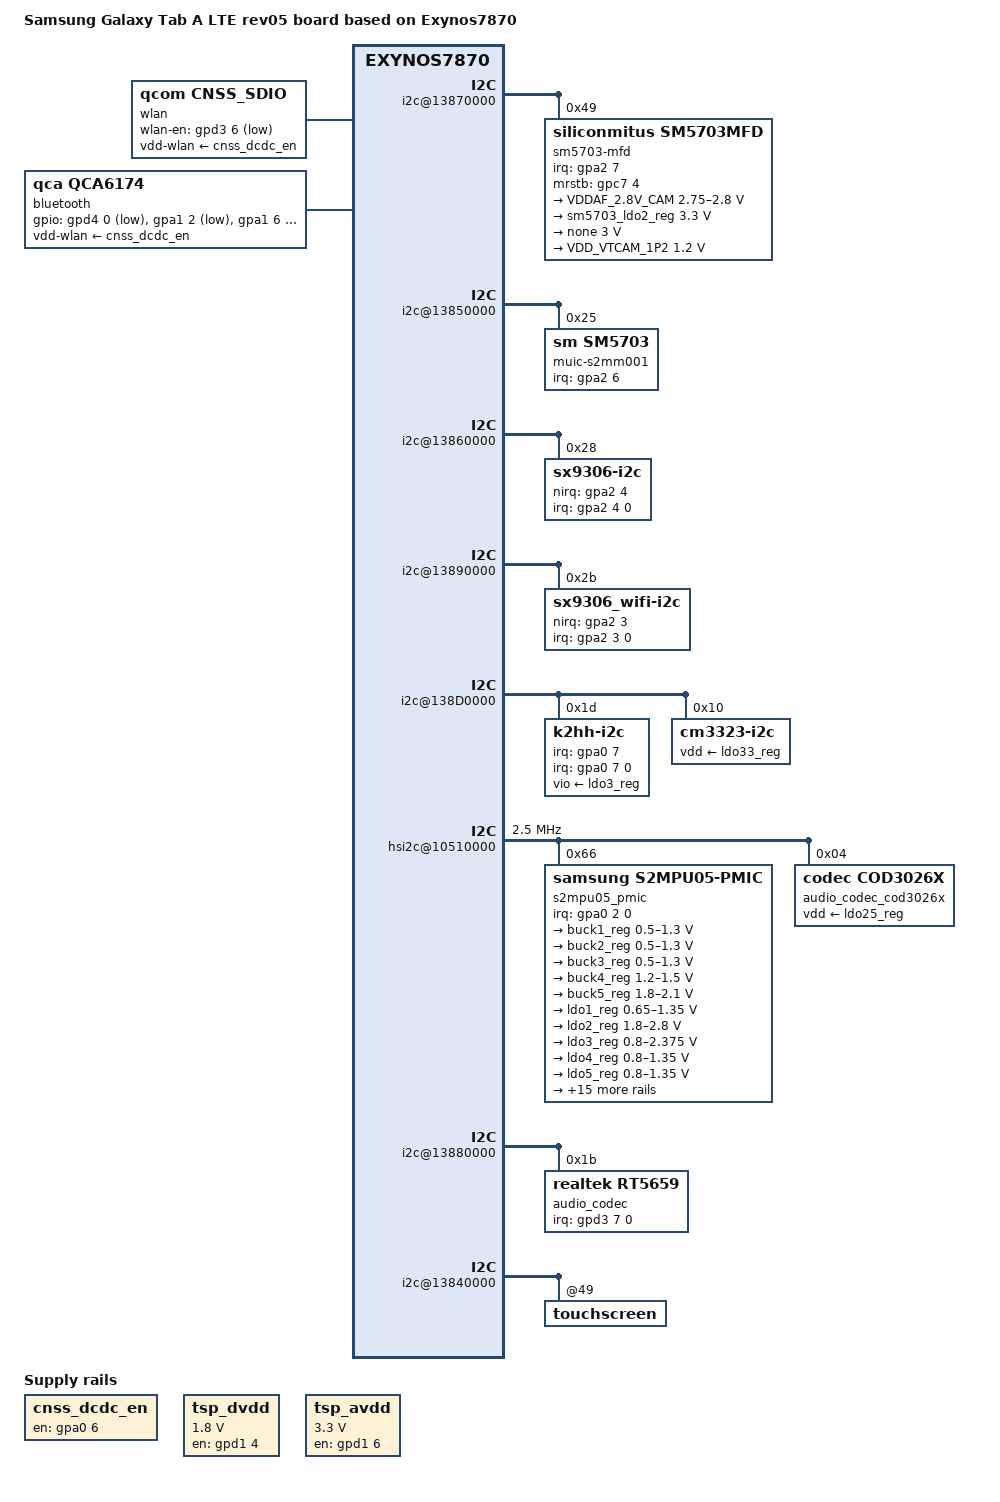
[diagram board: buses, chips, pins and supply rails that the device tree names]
/*
 * SAMSUNG UNIVERSAL8890 board device tree source
 *
 * Copyright (c) 2013 Samsung Electronics Co., Ltd.
 *		http://www.samsung.com
 *
 * This program is free software; you can redistribute it and/or modify
 * it under the terms of the GNU General Public License version 2 as
 * published by the Free Software Foundation.
*/

/dts-v1/;
#include "exynos7870-gtaxl_common.dtsi"
#include "modem-ss315ap-pdata.dtsi"
#include "exynos7870-gtaxllte_eur_open_gpio_05.dtsi"
#include "exynos7870-gtaxllte_eur_open_battery_05.dtsi"

/ {
	model = "Samsung Galaxy Tab A LTE rev05 board based on Exynos7870";
        model_info-chip = <7870>;
        model_info-platform = "android";
        model_info-subtype = "samsung";
        model_info-hw_rev = <5>;
        model_info-hw_rev_end = <255>;
	compatible = "samsung, Galaxy Tab A LTE 05", "samsung,exynos7870";

	cnss_dcdc_en: cnss_dcdc_en {
		compatible = "regulator-fixed";
		regulator-name = "cnss_dcdc_en";
		startup-delay-us = <4000>;
		enable-active-high;
		gpio = <&gpa0 6 0>;
	};

	serial_2: uart@13820000 {
		samsung,alive-io;
	};

	i2c@13870000 {
		status = "okay";
		sm5703-mfd@49 {
			compatible = "siliconmitus,sm5703mfd";
			reg = <0x49>;
			pinctrl-names = "default";
			pinctrl-0 = <&chg_en &if_pmic_irq>;
			sm5703,irq-gpio = <&gpa2 7 0>;
			sm5703,mrstb-gpio = <&gpc7 4 0>;

			sm5703_ldo1 {
				compatible = "siliconmitus,sm5703-ldo1";
				regulator-name = "VDDAF_2.8V_CAM"; /* change name by yourself */
				regulator-min-microvolt = <2750000>;
				regulator-max-microvolt = <2800000>; /* max == min then apply_uV = 1 */
				/* regulator-microvolt-offset = < >; optional*/
				/* regulator-boot-on;*/ /* = "yes"; optional, exist = enabled */
				/* regulator-always-on;*/ /* = "yes"; optional, exist = enabled */
				/* regulator-ramp-delay = <100>; optional*/
			};

			sm5703_ldo2_reg: sm5703_ldo2 {
				compatible = "siliconmitus,sm5703-ldo2";
				regulator-name = "VDD_MOTOR_3.3"; /* change name by yourself */
				regulator-min-microvolt = <3300000>;
				regulator-max-microvolt = <3300000>; /* max == min then apply_uV = 1 */
				/* regulator-microvolt-offset = < >; optional*/
				/* regulator-boot-on;   = "yes"; optional, exist = enabled */
				/* regulator-always-on;	"yes"; optional, exist = enabled */
				/* regulator-ramp-delay = <100>; optional*/
			};

			sm5703_ldo3 {
				compatible = "siliconmitus,sm5703-ldo3";
				regulator-name = "none"; /* change name by yourself */
				regulator-min-microvolt = <3000000>;
				regulator-max-microvolt = <3000000>; /* max == min then apply_uV = 1 */
				/* regulator-microvolt-offset = < >; optional*/
				/* regulator-boot-on = "yes"; optional, exist = enabled */
				/* regulator-always-on = "yes"; optional, exist = enabled */
				/* regulator-ramp-delay = <100>; optional*/
			};

			sm5703_buck {
				compatible = "siliconmitus,sm5703-buck";
				regulator-name = "VDD_VTCAM_1P2"; /* change name by yourself */
				regulator-min-microvolt = <1200000>;
				regulator-max-microvolt = <1200000>; /* max == min then apply_uV = 1 */
				/* regulator-microvolt-offset = < >; optional*/
				/* regulator-boot-on = "yes"; optional, exist = enabled */
				/* regulator-always-on = "yes"; optional, exist = enabled */
				/* regulator-ramp-delay = <100>; optional*/
			};

			sm5703_fled {
				compatible = "siliconmitus,sm5703-fled";
				enable = <1 1>;
				flash_current = <1200>;
				movie_current = <150>;
				torch_current = <150>;
				sm5703,led1-gpio = <&gpd3 5 0>;
				sm5703,led2-gpio = <&gpd3 7 0>;
			};
		};
	};

	i2c@13850000 {
		status = "okay";

		muic-s2mm001@25 {
			compatible = "sm,sm5703";
			reg = <0x25>;
			pinctrl-names = "default";
			pinctrl-0 = <&muic_irq>;
			sm5703,irq-gpio = <&gpa2 6 0>;
		};
	};

	pinctrl@139F0000 {
		acc_int: acc_int {
			samsung,pins = "gpa0-7";
			samsung,pin-function = <0xF>;
			samsung,pin-pud = <0>;
			samsung,pin-drv = <0>;
		};

		gripwifi_int: gripwifi_int {
			samsung,pins = "gpa2-3";
			samsung,pin-function = <0xF>;
			samsung,pin-pud = <0>;
			samsung,pin-drv = <0>;
		};

		grip_int: grip_int {
			samsung,pins = "gpa2-4";
			samsung,pin-function = <0xF>;
			samsung,pin-pud = <0>;
			samsung,pin-drv = <0>;
		};

		muic_irq: muic_irq {
			samsung,pins = "gpa2-6";
			samsung,pin-function = <0x0>;
			samsung,pin-pud = <3>;
		};
	};

	i2c@13860000 {
		samsung,i2c-sda-delay = <100>;
		samsung,i2c-max-bus-freq = <400000>;
		status = "okay";
		
		sx9306-i2c@28 {
			compatible = "sx9306-i2c";
			reg = <0x28>;
			pinctrl-names = "default";
			pinctrl-0 = <&grip_int>;
			interrupt-parent = <&gpa2>;
			interrupts = <4 0 0>;
			sx9306-i2c,nirq-gpio = <&gpa2 4 0>;
			sx9306-i2c,ctrl0 = <0x24>;
			sx9306-i2c,ctrl2 = <0x57>;
			sx9306-i2c,ctrl3 = <0x02>;
			sx9306-i2c,ctrl5 = <0x17>;
			sx9306-i2c,normal-thd = <8>; /* normal touch threshold */
			sx9306-i2c,ch-main = <2>; /* channel number */
			sx9306-i2c,ch-sub1 = <0xff>;  /*oxff: Not be used sub channel */
		};
	};
	
	i2c@13890000 {
		samsung,i2c-sda-delay = <100>;
		samsung,i2c-max-bus-freq = <400000>;
		status = "okay";
		
		sx9306_wifi-i2c@2B {
			compatible = "sx9306_wifi-i2c";
			reg = <0x2B>;
			pinctrl-names = "default";
			pinctrl-0 = <&gripwifi_int>;
			interrupt-parent = <&gpa2>;
			interrupts = <3 0 0>;
			sx9306_wifi-i2c,nirq-gpio = <&gpa2 3 0>;
			sx9306_wifi-i2c,ctrl0 = <0x24>;
			sx9306_wifi-i2c,ctrl2 = <0x57>;
			sx9306_wifi-i2c,ctrl3 = <0x02>;
			sx9306_wifi-i2c,ctrl5 = <0x17>;
			sx9306_wifi-i2c,normal-thd = <8>; /* normal touch threshold */
			sx9306_wifi-i2c,ch-main = <2>; /* channel number */
			sx9306_wifi-i2c,ch-sub1 = <0xff>;  /*oxff: Not be used sub channel */
		};
	};
	
	i2c@138D0000 {
		samsung,i2c-sda-delay = <100>;
		samsung,i2c-max-bus-freq = <400000>;
		status = "okay";

		k2hh-i2c@1D {
			compatible = "k2hh-i2c";
			reg = <0x1D>;
			pinctrl-names = "default";
			pinctrl-0 = <&acc_int>;
			interrupt-parent = <&gpa0>;
			interrupts = <7 0 0>;
			k2hh,irq_gpio = <&gpa0 7 0>;
			k2hh,vio-supply = <&ldo3_reg>;
			k2hh,axis_map_x = <0>;
			k2hh,axis_map_y = <1>;
			k2hh,axis_map_z = <2>;
			k2hh,negate_x = <0>;
			k2hh,negate_y = <0>;
			k2hh,negate_z = <1>;
			k2hh,poll_interval = <100>;
			k2hh,min_interval = <2>;
		};

		cm3323-i2c@10 {
			compatible = "cm3323-i2c";
			reg = <0x10>;
			cm3323-i2c,vdd-supply = <&ldo33_reg>;
			cm3323-i2c,vdd-alwayson = <1>;
			/*cm3323-i2c,vdd-ldo= ;  //use if vdd is connected with ldo or gpio*/
		};
	};

	hsi2c@10510000 {
		status = "okay";
		samsung,hs-mode;
		clock-frequency = <2500000>;
		samsung,hsi2c-batcher;
		#address-cells = <1>;
		#size-cells = <0>;

		s2mpu05_pmic@66 {
			compatible = "samsung,s2mpu05-pmic";
			reg = <0x66>;
			ten-bit-address;
			interrupts = <2 0 0>;
			interrupt-parent = <&gpa0>;
			pinctrl-names = "default";
			pinctrl-0 = <&pmic_irq &pm_wrsti>;
			g3d_en = <1>; /* 1 : enable , 0 : disable */
			buck2en_pin = "etc1-3";
			buck2en_addr = "139B0080.pinctrl";
			/* RTC: wtsr/smpl */
			wtsr_en = <1>; /* enable */
			smpl_en = <1>; /* enable */
			wtsr_timer_val = <3>;   /* 1000ms */
			smpl_timer_val = <0>;   /* 100ms */
			check_jigon = <0>; /* do not check jigon */
			/* RTC: If it's first boot, reset rtc to 1/1/2016 12:00:00(Fri) */
			init_time,sec = <0>;
			init_time,min = <0>;
			init_time,hour = <12>;
			init_time,mday = <1>;
			init_time,mon = <0>;
			init_time,year = <116>;
			init_time,wday = <5>;

			regulators {
				buck1_reg: BUCK1 {
					regulator-name = "BUCK1";
					regulator-min-microvolt = <500000>;
					regulator-max-microvolt = <1300000>;
					regulator-always-on;
					regulator-boot-on;
					regulator-ramp-delay = <12000>;
					regulator-initial-mode = <1>;
					regulator-expected-consumer = <2>;
				};

				buck2_reg: BUCK2 {
					regulator-name = "BUCK2";
					regulator-min-microvolt = <500000>;
					regulator-max-microvolt = <1300000>;
					regulator-always-on;
					regulator-boot-on;
					regulator-ramp-delay = <12000>;
					regulator-initial-mode = <2>;		/* MIF mode */
					regulator-expected-consumer = <4>;
				};

				buck3_reg: BUCK3 {
					regulator-name = "BUCK3";
					regulator-min-microvolt = <500000>;
					regulator-max-microvolt = <1300000>;
					regulator-always-on;
					regulator-boot-on;
					regulator-ramp-delay = <12000>;
					regulator-initial-mode = <2>;
				};

				buck4_reg: BUCK4 {
					regulator-name = "BUCK4";
					regulator-min-microvolt = <1200000>;
					regulator-max-microvolt = <1500000>;
					regulator-always-on;
					regulator-boot-on;
					regulator-ramp-delay = <12000>;
					regulator-initial-mode = <2>;
				};

				buck5_reg: BUCK5 {
					regulator-name = "BUCK5";
					regulator-min-microvolt = <1800000>;
					regulator-max-microvolt = <2100000>;
					regulator-always-on;
					regulator-boot-on;
					regulator-ramp-delay = <12000>;
					regulator-initial-mode = <2>;
				};

				ldo1_reg: LDO1 {
					regulator-name = "vdd_ldo1";
					regulator-min-microvolt = <650000>;
					regulator-max-microvolt = <1350000>;
					regulator-always-on;
					regulator-boot-on;
					regulator-ramp-delay = <12000>;
					regulator-initial-mode = <3>;
				};

				ldo2_reg: LDO2 {
					regulator-name = "vqmmc";
					regulator-min-microvolt = <1800000>;
					regulator-max-microvolt = <2800000>;
					regulator-ramp-delay = <12000>;
					regulator-initial-mode = <0>;
				};

				ldo3_reg: LDO3 {
					regulator-name = "vdd_ldo3";
					regulator-min-microvolt = <800000>;
					regulator-max-microvolt = <2375000>;
					regulator-boot-on;
					regulator-always-on;
					regulator-ramp-delay = <12000>;
					regulator-initial-mode = <3>;
				};

				ldo4_reg: LDO4 {
					regulator-name = "vdd_ldo4";
					regulator-min-microvolt = <800000>;
					regulator-max-microvolt = <1350000>;
					regulator-boot-on;
					regulator-always-on;
					regulator-ramp-delay = <12000>;
					regulator-initial-mode = <1>;
				};

				ldo5_reg: LDO5 {
					regulator-name = "vdd_ldo5";
					regulator-min-microvolt = <800000>;
					regulator-max-microvolt = <1350000>;
					regulator-boot-on;
					regulator-always-on;
					regulator-ramp-delay = <12000>;
					regulator-initial-mode = <3>;
				};

				ldo6_reg: LDO6 {
					regulator-name = "vdd_ldo6";
					regulator-min-microvolt = <800000>;
					regulator-max-microvolt = <1350000>;
					regulator-boot-on;
					regulator-always-on;
					regulator-ramp-delay = <12000>;
					regulator-initial-mode = <1>;
				};

				ldo7_reg: LDO7 {
					regulator-name = "vdd_ldo7";
					regulator-min-microvolt = <800000>;
					regulator-max-microvolt = <2375000>;
					regulator-boot-on;
					regulator-always-on;
					regulator-ramp-delay = <12000>;
					regulator-initial-mode = <1>;
				};

				ldo8_reg: LDO8 {
					regulator-name = "vdd_ldo8";
					regulator-min-microvolt = <1800000>;
					regulator-max-microvolt = <3375000>;
					regulator-boot-on;
					regulator-always-on;
					regulator-ramp-delay = <12000>;
					regulator-initial-mode = <1>;
				};

				ldo9_reg: LDO9 {
					regulator-name = "vdd_ldo9";
					regulator-min-microvolt = <650000>;
					regulator-max-microvolt = <1350000>;
					regulator-always-on;
					regulator-ramp-delay = <12000>;
					regulator-initial-mode = <1>;
				};

				ldo10_reg: LDO10 {
					regulator-name = "vdd_ldo10";
					regulator-min-microvolt = <650000>;
					regulator-max-microvolt = <1350000>;
					regulator-always-on;
					regulator-ramp-delay = <12000>;
					regulator-initial-mode = <1>;
				};

				ldo25_reg: LDO25 {
					regulator-name = "VDD_CODEC_1P8";
					regulator-min-microvolt = <1800000>;
					regulator-max-microvolt = <1800000>;
					regulator-always-on;
					regulator-initial-mode = <3>;
				};

				ldo26_reg: LDO26 {
					regulator-name = "vemmc";
					regulator-min-microvolt = <1800000>;
					regulator-max-microvolt = <3375000>;
					regulator-boot-on;
					regulator-ramp-delay = <12000>;
					regulator-initial-mode = <3>;
				};

				ldo27_reg: LDO27 {
					regulator-name = "vqemmc";
					regulator-min-microvolt = <800000>;
					regulator-max-microvolt = <2375000>;
					regulator-boot-on;
					regulator-ramp-delay = <12000>;
					regulator-initial-mode = <3>;
				};

				ldo29_reg: LDO29 {
					regulator-name = "VDD_CAM_AF_2P8";
					regulator-min-microvolt = <2800000>;
					regulator-max-microvolt = <2800000>;
					regulator-initial-mode = <0>;
				};

				ldo30_reg: LDO30 {
					regulator-name = "VDD_CAM_CORE_1P2";
					regulator-min-microvolt = <1200000>;
					regulator-max-microvolt = <1200000>;
					regulator-initial-mode = <0>;
				};

				ldo31_reg: LDO31 {
					regulator-name = "vdd_ldo31";
					regulator-min-microvolt = <2800000>;
					regulator-max-microvolt = <2800000>;
					regulator-boot-on;
					regulator-always-on;
					regulator-ramp-delay = <12000>;
					regulator-initial-mode = <3>;
				};

				ldo32_reg: LDO32 {
					regulator-name = "VDD_CODEC_3P3";
					regulator-min-microvolt = <3300000>;
					regulator-max-microvolt = <3300000>;
					regulator-always-on;
					regulator-initial-mode = <3>;
				};

				ldo33_reg: LDO33 {
					regulator-name = "VDD_SENSOR_2P8";
					regulator-min-microvolt = <2800000>;
					regulator-max-microvolt = <2800000>;
					regulator-initial-mode = <0>;
				};

				ldo34_reg: LDO34 {
					regulator-name = "VDDIO_1.8V_CAM";
					regulator-min-microvolt = <1800000>;
					regulator-max-microvolt = <1800000>;
					regulator-initial-mode = <0>;
				};

				ldo35_reg: LDO35 {
					regulator-name = "LCD_1P8";
					regulator-min-microvolt = <1800000>;
					regulator-max-microvolt = <1800000>;
					regulator-boot-on;
					regulator-initial-mode = <3>;
				};
			};
		};

		audio_codec_cod3026x: cod3026x@04 {
			compatible = "codec,cod3026x";
			reg = <0x04>;
			ten-bit-address;
			vdd-supply = <&ldo25_reg>;
//			pinctrl-names = "default";
//			pinctrl-0 = <&cod3026_irq>;
//			interrupt-parent = <&gpa0>;
//			gpios = <&gpa0 4 0xf>;
			mic-bias1-voltage = <3>;
			mic-bias2-voltage = <3>;
			mic-bias-ldo-voltage = <3>;
		};
	};

	i2c@13880000 {
		samsung,i2c-sda-delay = <100>;
		samsung,i2c-max-bus-freq = <400000>;
		#address-cells = <1>;
		#size-cells = <0>;
		status = "okay";

		audio_codec: rt5659@1b {
			compatible = "realtek,rt5659";
			reg = <0x1b>;
			pinctrl-names = "default";
			pinctrl-0 = <&codec_ldoena &codec_reset>;
			interrupts = <7 0 0>;
			interrupt-parent = <&gpd3>;
			realtek,in3-differential = "true";
			realtek,in4-differential = "true";

			realtek,gpio_ldo = <&gpd3 2 0>;
			realtek,gpio_reset = <&gpd3 3 0>;
			realtek,regulator_1v8 = <&ldo30_reg>;
			realtek,regulator_3v3 = <&ldo32_reg>;
		};
	};

	earjack {
		det-zones-list = <&det_zones 0 10000 10 0>,
				<&det_zones 1683 10000 10 2>,
				<&det_zones 3800 10000 10 1>,
				<&det_zones 9999 10000 10 1>;
		but-zones-list = <&but_zones 226 1 564>,
				<&but_zones 582 565 641>,
				<&but_zones 115 642 836>,
				<&but_zones 114 837 1300>;
	};

	sound {
		samsung,audio-routing =
				"HP", "HPOL",
				"HP", "HPOR",
				"RCV", "MONOOUT",
				"SPK", "SPOL",
				"SPK", "SPOR",
				"IN1P", "Headset Mic",
				"IN1N", "Headset Mic",
				"IN3P", "MICBIAS2",
				"IN3P", "Main Mic",
				"IN3N", "Main Mic";

		earmic_bias = <1>;
	};

	wlan {
		compatible = "qcom,cnss_sdio";
		wlan-en-gpio = <&gpd3 6 0x1>; /* WLAN_EN */
		wlan-host-wake = <&gpa2 2 0>; /* WLAN_HOST_WAKE */
		vdd-wlan-supply = <&cnss_dcdc_en>; /* DCDC_EN regulator */
		pinctrl-names = "default";
		pinctrl-0 = <&cnss_wlanen &cfg_wlanhostwake>;
		status = "okay";
	};

	pinctrl@13750000 {
		sd0_rdqs: sd0-rdqs {
			samsung,pins = "gpr0-2";
			samsung,pin-pud = <1>;
		};

		sd1_clk: sd1-clk {
			samsung,pin-pud-pdn = <3>;
			samsung,pin-drv = <1>;
		};

		sd1_cmd: sd1-cmd {
			samsung,pin-pud-pdn = <3>;
			samsung,pin-drv = <1>;
		};
	
		sd1_bus1: sd1-bus-width1 {
			samsung,pin-pud = <3>;
			samsung,pin-drv = <1>;
		};

		sd1_bus4: sd1-bus-width4 {
			samsung,pin-pud = <3>;
			samsung,pin-drv = <1>;
		};
	};
	
	bluetooth {
		compatible = "qca,qca6174";
		gpios = <&gpd4 0 0x1	/*BT_EN*/
				&gpa1 2 0x1	/*BT_WAKE*/
				&gpa1 6 0xF	/*BT_HOST_WAKE*/ >;
		vdd-wlan-supply = <&cnss_dcdc_en>; /* DCDC_EN regulator */
		pinctrl-names = "default";
		pinctrl-0=<&bt_hostwake &bt_btwake &bt_en>;
		status = "okay";
	};

	pinctrl@139B0000 {
		codec_i2c: codec-i2c {
			samsung,pins ="gpc1-2", "gpc1-3";
			samsung,pin-function = <2>;
			samsung,pin-pud = <0>;
			samsung,pin-drv = <0>;
		};

		codec_ldoena: codec-ldoena {
			samsung,pins ="gpd3-2";
			samsung,pin-function = <1>;
			samsung,pin-pud = <0>;
			samsung,pin-pud-pdn = <0>;
			samsung,pin-con-pdn = <3>;
			samsung,pin-val = <1>;
		};

		codec_reset: codec-reset {
			samsung,pins ="gpd3-3";
			samsung,pin-function = <1>;
			samsung,pin-pud = <0>;
			samsung,pin-pud-pdn = <0>;
			samsung,pin-con-pdn = <3>;
			samsung,pin-val = <1>;
		};
	};

	sec_vib {
		compatible = "sec_vib";
		sec_vib_pdata {
			status = "okay";
			sec_vib,max_timeout = <10000>;
			sec_vib,ldo_type = <0>;		/* 0: pmic ldo, 1: external ldo */
			sec_vib,regulator = "VDD_MOTOR_3.3";
		};
	};

	tsp_dvdd {
		compatible = "regulator-fixed";
		regulator-name = "tsp_dvdd";
		regulator-min-microvolt = <1800000>;
		regulator-max-microvolt = <1800000>;
		gpio = <&gpd1 4 0>;
		enable-active-high;
	};

	tsp_avdd {
		compatible = "regulator-fixed";
		regulator-name = "tsp_avdd";
		regulator-min-microvolt = <3300000>;
		regulator-max-microvolt = <3300000>;
		gpio = <&gpd1 6 0>;
		enable-active-high;
	};

	i2c@13840000 {
		touchscreen@49 {
			stm,project_name = "gtaxl_rev03", "T580";
			stm,regulator_dvdd = "tsp_dvdd";
			stm,regulator_avdd = "tsp_avdd";
		};
	};
};
